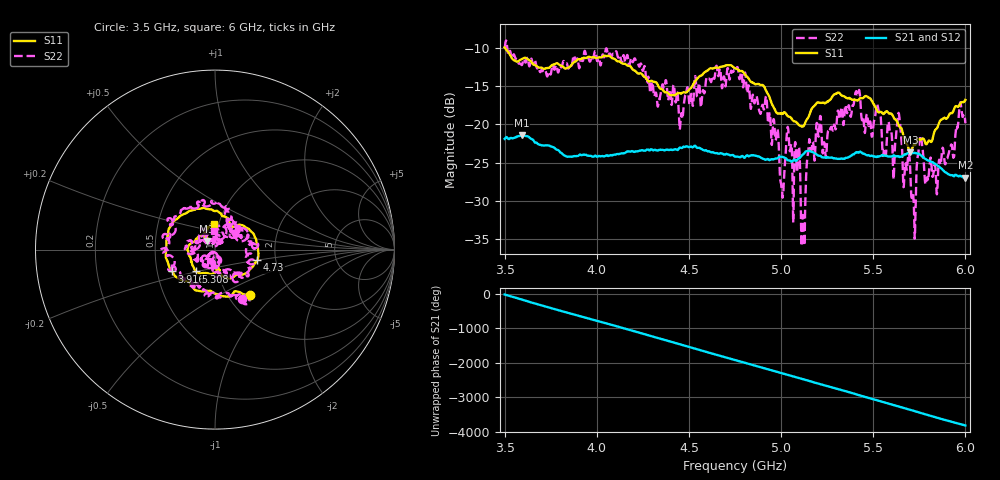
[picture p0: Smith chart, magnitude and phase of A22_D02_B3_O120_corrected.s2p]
! Created with skrf 1.9.0 (http://scikit-rf.org).
# Hz S RI R 50.0
!freq ReS11 ImS11 ReS21 ImS21 ReS12 ImS12 ReS22 ImS22
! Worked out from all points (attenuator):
!   1601 points, 3.5 GHz to 6 GHz, reference 50 ohm
!   highest |S21| = -21.42 dB at 3.592 GHz (marker M1); lowest = -27.0 dB at 6 GHz (marker M2)
!   lowest |S11| = -23.7 dB at 5.702 GHz (marker M3), VSWR 1.14, Z = 45.6 + j4.42 ohm
!   |S11| at or under -10 dB: 3.502 GHz to end of sweep
!   |S22| runs from -35.9 to -9.0 dB; largest |S21 - S12| = 0.0009
!   S11 on the Smith chart (normalised r, x): 3.5 GHz: 1.26, -0.71; 3.916 GHz: 0.60, -0.16; 4.73 GHz: 1.60, -0.20; 5.308 GHz: 0.79, -0.20; 6 GHz: 0.95, +0.28
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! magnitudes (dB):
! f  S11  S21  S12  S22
! 3.5 GHz  -9.9  -21.9  -21.9  -10.0
! 3.592 GHz  -11.5  -21.4  -21.4  -12.2
! 3.916 GHz  -11.5  -24.0  -24.0  -11.4
! 3.917 GHz  -11.4  -24.0  -24.0  -11.4
! 4.334 GHz  -15.0  -23.4  -23.3  -17.3
! 4.73 GHz  -12.3  -24.0  -24.0  -13.0
! 4.75 GHz  -12.7  -24.2  -24.1  -12.9
! 4.927 GHz  -15.9  -24.5  -24.5  -18.7
! 5.005 GHz  -18.6  -24.2  -24.2  -28.5
! 5.036 GHz  -18.9  -24.7  -24.6  -20.3
! 5.088 GHz  -19.8  -24.6  -24.6  -26.2
! 5.119 GHz  -20.2  -24.0  -23.9  -31.9
! 5.167 GHz  -17.9  -23.6  -23.6  -23.0
! 5.308 GHz  -15.8  -24.5  -24.4  -18.2
! 5.416 GHz  -16.9  -23.7  -23.7  -16.1
! 5.584 GHz  -18.6  -24.2  -24.2  -19.7
! 5.641 GHz  -20.2  -24.3  -24.2  -18.8
! 5.702 GHz  -23.7  -23.8  -23.8  -26.5
! 5.719 GHz  -22.7  -23.8  -23.7  -29.8
! 5.755 GHz  -22.0  -24.0  -23.9  -21.5
! 5.839 GHz  -20.7  -25.2  -25.2  -26.3
! 6 GHz  -16.8  -27.0  -26.9  -19.8
